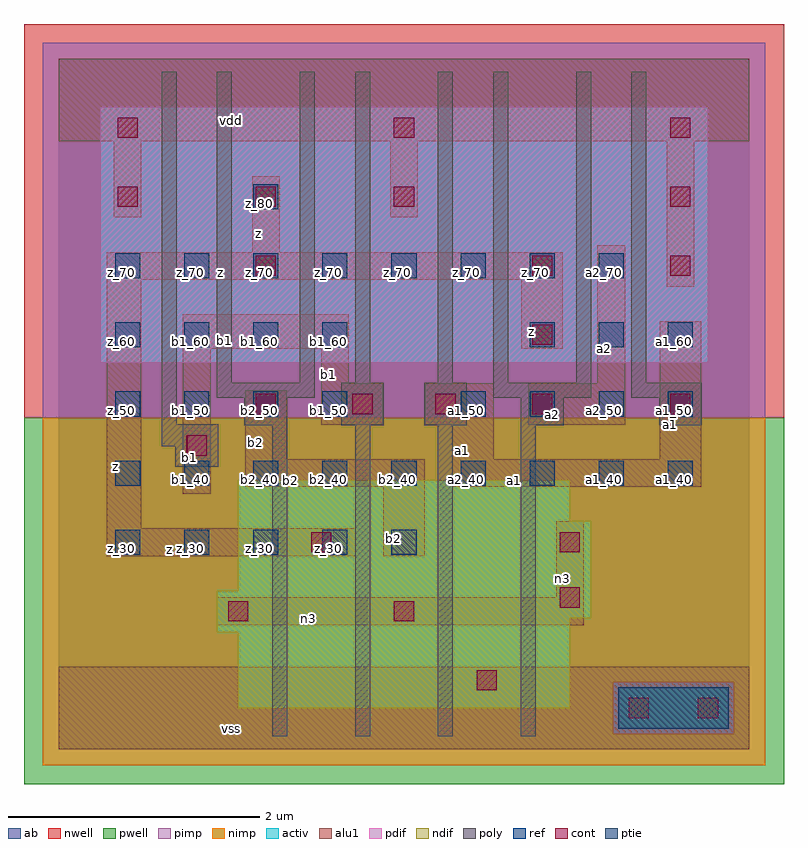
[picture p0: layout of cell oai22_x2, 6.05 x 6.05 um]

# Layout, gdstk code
import gdstk
lib = gdstk.Library(unit=1e-6, precision=2.5e-09)
def R(c, l, rs):  # rectangles x0, y0, x1, y1
    for r in rs: c.add(gdstk.rectangle(r[:2], r[2:], *l))
def A(c, l, x, y, w, h, nx, ny, dx, dy):  # array of equal rectangles
    R(c, l, [(x+i*dx, y+j*dy, x+i*dx+w, y+j*dy+h) for i in range(nx) for j in range(ny)])
ndif = (3, 0)
pdif = (4, 0)
ptie = (6, 0)
ref = (24, 0)
cont = (25, 0)
pwell = (41, 0)
nwell = (42, 0)
activ = (43, 0)
pimp = (44, 0)
nimp = (45, 0)
poly = (46, 0)
alu1 = (49, 0)
ab = (63, 0)

oai22_x2 = lib.new_cell('oai22_x2')
R(oai22_x2, ndif, [(1.43,0.33,4.07,0.935), (1.265,0.935,4.07,1.045), (1.265,1.045,4.235,1.265), (1.43,1.265,4.235,1.815), (1.43,1.815,4.07,2.145)])
R(oai22_x2, pdif, [(0.33,3.08,5.17,5.115)])
R(oai22_x2, ptie, [(4.455,0.165,5.335,0.495)])
A(oai22_x2, ref, 0.45, 1.55, 0.2, 0.2, 5, 1, 0.55, 0)
A(oai22_x2, ref, 0.45, 2.1, 0.2, 0.2, 9, 1, 0.55, 0)
A(oai22_x2, ref, 0.45, 2.65, 0.2, 0.2, 4, 2, 0.55, 0.55)
A(oai22_x2, ref, 3.2, 2.65, 0.2, 0.2, 4, 1, 0.55, 0)
A(oai22_x2, ref, 3.75, 3.2, 0.2, 0.2, 3, 1, 0.55, 0)
A(oai22_x2, ref, 0.45, 3.75, 0.2, 0.2, 8, 1, 0.55, 0)
R(oai22_x2, ref, [(1.55,4.3,1.75,4.5)])
A(oai22_x2, cont, 3.77, 2.67, 0.16, 0.16, 1, 3, 0, 0.55)
A(oai22_x2, cont, 0.47, 4.32, 0.16, 0.16, 3, 1, 1.1, 0)
A(oai22_x2, cont, 0.47, 4.87, 0.16, 0.16, 3, 1, 2.2, 0)
R(oai22_x2, cont, [(4.54,0.25,4.7,0.41), (5.09,0.25,5.25,0.41), (3.33,0.47,3.49,0.63), (1.35,1.02,1.51,1.18), (2.67,1.02,2.83,1.18), (3.99,1.13,4.15,1.29), (2.01,1.57,2.17,1.73), (3.99,1.57,4.15,1.73), (1.02,2.34,1.18,2.5), (1.57,2.67,1.73,2.83), (2.34,2.67,2.5,2.83), (3,2.67,3.16,2.83), (4.87,2.67,5.03,2.83), (1.57,3.77,1.73,3.93), (4.87,3.77,5.03,3.93), (4.87,4.32,5.03,4.48)])
R(oai22_x2, pwell, [(-0.275,-0.275,5.775,2.64)])
R(oai22_x2, nwell, [(-0.275,2.64,5.775,5.775)])
R(oai22_x2, activ, [(4.455,0.165,5.335,0.495), (1.43,0.33,4.07,0.935), (1.265,0.935,4.07,1.045), (1.265,1.045,4.235,1.265), (1.43,1.265,4.235,1.815), (1.43,1.815,4.07,2.145), (0.33,3.08,5.17,5.115)])
R(oai22_x2, pimp, [(4.415,0.125,5.375,0.535), (-0.125,2.64,5.625,5.625)])
R(oai22_x2, nimp, [(-0.125,-0.125,5.625,0.125), (-0.125,0.125,4.415,0.535), (5.375,0.125,5.625,0.535), (-0.125,0.535,5.625,2.64)])
A(oai22_x2, poly, 1.7, 0.105, 0.12, 2.475, 4, 1, 0.66, 0)
R(oai22_x2, poly, [(0.93,2.25,1.27,2.415), (0.82,2.415,1.27,2.59), (1.48,2.58,1.82,2.8), (2.25,2.58,2.59,2.92), (2.91,2.58,3.25,2.92), (3.68,2.58,4.02,2.8), (4.78,2.58,5.12,2.8), (0.82,2.59,0.94,5.395), (1.26,2.8,2.04,2.92), (3.46,2.8,4.24,2.92), (4.56,2.8,5.12,2.92), (1.26,2.92,1.38,5.395), (1.92,2.92,2.04,5.395), (2.36,2.92,2.48,5.395), (3.02,2.92,3.14,5.395), (3.46,2.92,3.58,5.395), (4.12,2.92,4.24,5.395), (4.56,2.92,4.68,5.395)])
R(oai22_x2, alu1, [(0,0,5.5,0.66), (1.265,0.99,4.18,1.21), (3.96,1.21,4.18,1.815), (0.385,1.54,2.365,1.76), (2.585,1.54,2.915,2.09), (0.385,1.76,0.66,3.74), (0.99,2.035,1.21,3.19), (1.485,2.09,2.915,2.31), (3.135,2.09,5.115,2.31), (1.485,2.31,1.815,2.86), (3.135,2.31,3.465,2.585), (4.785,2.31,5.115,3.41), (2.09,2.585,2.585,2.915), (2.915,2.585,3.465,2.915), (3.74,2.585,4.51,2.915), (2.09,2.915,2.31,3.19), (4.29,2.915,4.51,4.015), (0.99,3.19,2.31,3.465), (3.685,3.19,4.015,3.74), (4.84,3.685,5.06,4.84), (0.385,3.74,4.015,3.96), (1.54,3.96,1.76,4.565), (0.44,4.235,0.66,4.84), (2.64,4.235,2.86,4.84), (0,4.84,5.5,5.5)])
R(oai22_x2, ab, [(0,0,5.5,5.5)])
oai22_x2.add(gdstk.Label('vss', (1.375,0.165), layer=49, texttype=0))
oai22_x2.add(gdstk.Label('n3', (1.9925,1.045), layer=49, texttype=0))
oai22_x2.add(gdstk.Label('n3', (4.015,1.36), layer=49, texttype=0))
oai22_x2.add(gdstk.Label('b2', (2.6675,1.6775), layer=49, texttype=0))
oai22_x2.add(gdstk.Label('z', (0.88,1.595), layer=49, texttype=0))
oai22_x2.add(gdstk.Label('a1', (3.63,2.145), layer=49, texttype=0))
oai22_x2.add(gdstk.Label('b2', (1.8425,2.145), layer=49, texttype=0))
oai22_x2.add(gdstk.Label('a1', (4.8675,2.585), layer=49, texttype=0))
oai22_x2.add(gdstk.Label('a1', (3.2175,2.3775), layer=49, texttype=0))
oai22_x2.add(gdstk.Label('a2', (3.9325,2.6675), layer=49, texttype=0))
oai22_x2.add(gdstk.Label('b2', (1.5675,2.4475), layer=49, texttype=0))
oai22_x2.add(gdstk.Label('a2', (4.345,3.19), layer=49, texttype=0))
oai22_x2.add(gdstk.Label('b1', (2.145,2.9825), layer=49, texttype=0))
oai22_x2.add(gdstk.Label('b1', (1.045,2.3225), layer=49, texttype=0))
oai22_x2.add(gdstk.Label('z', (3.7675,3.3275), layer=49, texttype=0))
oai22_x2.add(gdstk.Label('b1', (1.32,3.2575), layer=49, texttype=0))
oai22_x2.add(gdstk.Label('z', (0.4525,2.255), layer=49, texttype=0))
oai22_x2.add(gdstk.Label('z', (1.2925,3.795), layer=49, texttype=0))
oai22_x2.add(gdstk.Label('z', (1.595,4.11), layer=49, texttype=0))
oai22_x2.add(gdstk.Label('vdd', (1.375,5.005), layer=49, texttype=0))
oai22_x2.add(gdstk.Label('z_60', (3.8,3.25), layer=24, texttype=0))
oai22_x2.add(gdstk.Label('a1_60', (4.9,3.25), layer=24, texttype=0))
oai22_x2.add(gdstk.Label('a2_50', (3.8,2.7), layer=24, texttype=0))
oai22_x2.add(gdstk.Label('b2_40', (2.7,2.15), layer=24, texttype=0))
oai22_x2.add(gdstk.Label('b2_40', (1.6,2.15), layer=24, texttype=0))
oai22_x2.add(gdstk.Label('b1_60', (2.15,3.25), layer=24, texttype=0))
oai22_x2.add(gdstk.Label('b1_60', (1.05,3.25), layer=24, texttype=0))
oai22_x2.add(gdstk.Label('z_30', (0.5,1.6), layer=24, texttype=0))
oai22_x2.add(gdstk.Label('z_70', (0.5,3.8), layer=24, texttype=0))
oai22_x2.add(gdstk.Label('z_70', (3.8,3.8), layer=24, texttype=0))
oai22_x2.add(gdstk.Label('b2_30', (2.7,1.6), layer=24, texttype=0))
oai22_x2.add(gdstk.Label('z_70', (2.7,3.8), layer=24, texttype=0))
oai22_x2.add(gdstk.Label('z_70', (2.15,3.8), layer=24, texttype=0))
oai22_x2.add(gdstk.Label('z_40', (0.5,2.15), layer=24, texttype=0))
oai22_x2.add(gdstk.Label('z_50', (0.5,2.7), layer=24, texttype=0))
oai22_x2.add(gdstk.Label('z_60', (0.5,3.25), layer=24, texttype=0))
oai22_x2.add(gdstk.Label('z_70', (1.05,3.8), layer=24, texttype=0))
oai22_x2.add(gdstk.Label('z_70', (1.6,3.8), layer=24, texttype=0))
oai22_x2.add(gdstk.Label('z_80', (1.6,4.35), layer=24, texttype=0))
oai22_x2.add(gdstk.Label('z_70', (3.25,3.8), layer=24, texttype=0))
oai22_x2.add(gdstk.Label('z_30', (1.05,1.6), layer=24, texttype=0))
oai22_x2.add(gdstk.Label('z_30', (1.6,1.6), layer=24, texttype=0))
oai22_x2.add(gdstk.Label('z_30', (2.15,1.6), layer=24, texttype=0))
oai22_x2.add(gdstk.Label('a2_40', (3.8,2.15), layer=24, texttype=0))
oai22_x2.add(gdstk.Label('a2_50', (4.35,2.7), layer=24, texttype=0))
oai22_x2.add(gdstk.Label('a1_50', (3.25,2.7), layer=24, texttype=0))
oai22_x2.add(gdstk.Label('a1_50', (4.9,2.7), layer=24, texttype=0))
oai22_x2.add(gdstk.Label('a1_40', (4.9,2.15), layer=24, texttype=0))
oai22_x2.add(gdstk.Label('b1_40', (1.05,2.15), layer=24, texttype=0))
oai22_x2.add(gdstk.Label('b1_50', (1.05,2.7), layer=24, texttype=0))
oai22_x2.add(gdstk.Label('b1_50', (2.15,2.7), layer=24, texttype=0))
oai22_x2.add(gdstk.Label('b1_60', (1.6,3.25), layer=24, texttype=0))
oai22_x2.add(gdstk.Label('b2_50', (1.6,2.7), layer=24, texttype=0))
oai22_x2.add(gdstk.Label('b2_40', (2.15,2.15), layer=24, texttype=0))
oai22_x2.add(gdstk.Label('a2_60', (4.35,3.25), layer=24, texttype=0))
oai22_x2.add(gdstk.Label('a2_70', (4.35,3.8), layer=24, texttype=0))
oai22_x2.add(gdstk.Label('a1_40', (4.35,2.15), layer=24, texttype=0))
oai22_x2.add(gdstk.Label('a2_40', (3.25,2.15), layer=24, texttype=0))

lib.write_gds('oai22_x2.gds')
